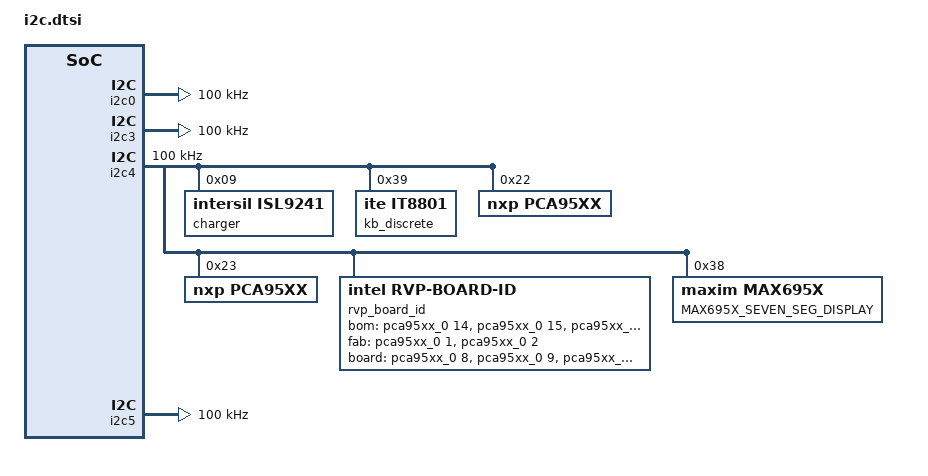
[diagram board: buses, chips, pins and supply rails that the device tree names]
/* Copyright 2024 The ChromiumOS Authors
 * Use of this source code is governed by a BSD-style license that can be
 * found in the LICENSE file.
 */

/ {
	named-i2c-ports {
		compatible = "named-i2c-ports";

		bga_pina5 {
			enum-names = "I2C_PORT_SMB_PCH";
		};
		wc_usbc_pd_clk_aic1_r {
			enum-names = "I2C_PORT_WC_USBC_PD";
		};
		wc_usbc_pd_clk_aic2_r {
			enum-names = "I2C_PORT_AIC2";
		};
		i2c_smb_bs: smb_bs_clk_r {
			enum-names = "I2C_PORT_SMB_BS";
		};
		c_ish_ec_clk_r {
			enum-names = "I2C_PORT_ISH_EC";
		};
	};
};

&i2c0 {
	label = "I2C_PORT_SMB_PCH";
	clock-frequency = <I2C_BITRATE_STANDARD>;
};

pd_pow_i2c: &i2c1 {
};

&i2c3 {
	label = "I2C_PORT_AIC2";
	clock-frequency = <I2C_BITRATE_STANDARD>;
};

charger_i2c: &i2c4 {
};

/* charger */
&charger_i2c {
	label = "I2C_CHARGER";
	clock-frequency = <I2C_BITRATE_STANDARD>;
	status = "okay";

	charger: raa489@9 {
		compatible = "intersil,isl9241";
		status = "okay";
		reg = <0x9>;
	};
	kb_discrete: ite-it8801@39 {
		compatible = "ite,it8801";
		reg = <0x39>;
	};
	pca95xx_0: pca95xx@22 {
		compatible = "nxp,pca95xx";
		label = "PCA95XX";
		reg = <0x22>;
		gpio-controller;
		#gpio-cells = <2>;
		ngpios = <16>;
	};
	pca95xx_1: pca95xx@23 {
		compatible = "nxp,pca95xx";
		label = "PCA95XX";
		reg = <0x23>;
		gpio-controller;
		#gpio-cells = <2>;
		ngpios = <16>;
	};
	rvp_board_id: rvp-board-id {
		compatible = "intel,rvp-board-id";
		bom-gpios = <&pca95xx_0 14 0>, <&pca95xx_0 15 0>,
			    <&pca95xx_0 0 0>;

		fab-gpios = <&pca95xx_0 1 0>, <&pca95xx_0 2 0>;

		board-gpios = <&pca95xx_0 8 0>, <&pca95xx_0 9 0>,
			      <&pca95xx_0 10 0>, <&pca95xx_0 11 0>,
			      <&pca95xx_0 12 0>, <&pca95xx_0 13 0>;
	};
	seven_seg_display: max695x-seven-seg-display@38 {
		compatible = "maxim,max695x";
		reg = <0x38>;
		label = "MAX695X_SEVEN_SEG_DISPLAY";
	};
};

&i2c5 {
	label = "I2C_PORT_ISH_EC";
	clock-frequency = <I2C_BITRATE_STANDARD>;
};
